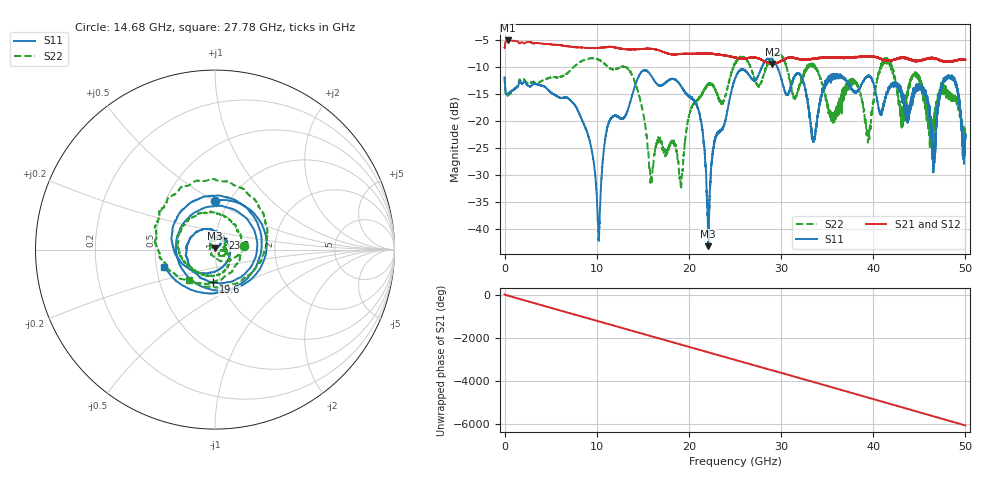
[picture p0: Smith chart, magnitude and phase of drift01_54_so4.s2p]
!Created with skrf (http://scikit-rf.org).
# Hz S RI R 50.0
!freq ReS11 ImS11 ReS21 ImS21 ReS12 ImS12 ReS22 ImS22
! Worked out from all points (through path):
!   10001 points, 300 kHz to 50 GHz, reference 50 ohm
!   highest |S21| = -5.05 dB at 330.3 MHz (marker M1); lowest = -9.4 dB at 29.06 GHz (marker M2)
!   group delay of S21, straight-line fit = 336 ps
!   lowest |S11| = -43.2 dB at 22.09 GHz (marker M3), VSWR 1.01, Z = 50 + j0.693 ohm
!   |S11| at or under -10 dB: start of sweep to 27.92 GHz; 29.59321 GHz to 29.59819 GHz (4.98 MHz wide, 0.0168 % of centre); 29.6 GHz to end of sweep
!   |S22| runs from -32.5 to -7.5 dB; largest |S21 - S12| = 0.012
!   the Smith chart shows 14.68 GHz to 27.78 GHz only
!   S11 on the Smith chart (normalised r, x): 14.68 GHz: 0.87, +0.51; 19.6 GHz: 0.92, -0.35; 23.2 GHz: 1.08, +0.14; 27.78 GHz: 0.55, -0.12
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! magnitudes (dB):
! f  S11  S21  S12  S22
! 300 kHz  -12.0  -6.4  -6.6  -11.8
! 330.3 MHz  -15.0  -5.1  -5.1  -15.3
! 8.335 GHz  -19.5  -6.4  -6.4  -8.9
! 10.21 GHz  -41.6  -6.4  -6.4  -8.6
! 11.24 GHz  -20.6  -6.3  -6.2  -10.0
! 14.68 GHz  -11.3  -6.7  -6.7  -15.8
! 15.88 GHz  -11.5  -6.6  -6.6  -30.8
! 16.67 GHz  -13.3  -6.9  -6.9  -23.2
! 19.6 GHz  -14.8  -7.5  -7.5  -23.4
! 21.22 GHz  -19.2  -7.5  -7.5  -15.6
! 22.09 GHz  -43.2  -7.5  -7.5  -13.3
! 23.2 GHz  -22.1  -7.7  -7.7  -15.7
! 25 GHz  -12.1  -8.2  -8.3  -9.5
! 27.78 GHz  -10.5  -8.6  -8.6  -13.0
! 29.06 GHz  -8.6  -9.4  -9.4  -8.0
! 33.34 GHz  -23.2  -8.5  -8.4  -9.5
! 39.47 GHz  -11.7  -8.0  -8.0  -22.3
! 41.67 GHz  -13.9  -8.8  -8.8  -9.2
! 45.47 GHz  -13.9  -8.5  -8.5  -15.9
! 46.56 GHz  -26.4  -8.3  -8.3  -21.4
! 48.55 GHz  -11.5  -8.9  -9.0  -15.3
! 50 GHz  -23.2  -8.6  -8.6  -23.2
